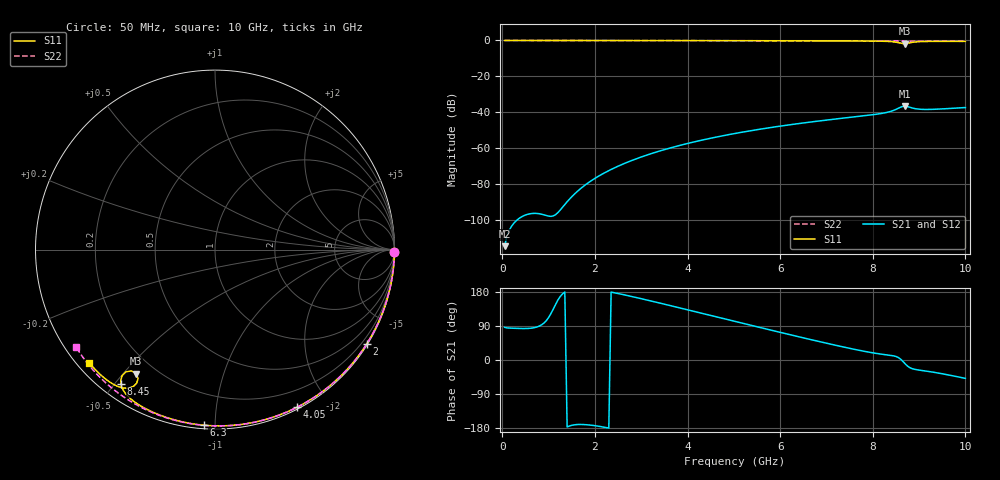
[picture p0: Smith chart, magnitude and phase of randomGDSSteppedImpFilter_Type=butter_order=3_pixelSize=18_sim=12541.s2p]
! freq	dB(S11)	phase(S11)	dB(S12)	phase(S12)
!  dB(S21)	phase(S21)	dB(S22)	phase(S22)
!S-par simulation data
#  GHz  S  DB  R 50
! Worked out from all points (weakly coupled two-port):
!   200 points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, 50 MHz to 10 GHz, reference 50 ohm
!   highest |S21| = -36.62 dB at 8.7 GHz (marker M1); lowest = -114.6 dB at 50 MHz (marker M2)
!   lowest |S11| = -1.7 dB at 8.7 GHz (marker M3), VSWR 10.03, Z = 6.48 - j27.1 ohm
!   |S11| at or under -10 dB: nowhere
!   |S22| runs from -0.5 to 0.0 dB; largest |S21 - S12| = 0
!   S11 on the Smith chart (normalised r, x): 50 MHz: open; 2 GHz: 0.03, -3.52; 4.05 GHz: 0.02, -1.65; 6.3 GHz: 0.02, -0.94; 8.45 GHz: 0.06, -0.52; 10 GHz: 0.03, -0.38
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0.05  -0.00 -0.8  -114.60 86.3  -114.60 86.3  -0.00 -0.8
0.9  -0.02 -14.5  -97.15 97.5  -97.15 97.5  -0.02 -15.1
1.75  -0.04 -27.9  -81.30 -170.3  -81.30 -170.3  -0.04 -29.0
1.85  -0.04 -29.4  -79.39 -171.1  -79.39 -171.1  -0.04 -30.6
2  -0.04 -31.8  -76.83 -173.3  -76.83 -173.3  -0.04 -33.0
2.3  -0.05 -36.4  -72.50 -179.6  -72.50 -179.6  -0.05 -37.9
2.6  -0.05 -41.0  -68.92 172.9  -68.92 172.9  -0.05 -42.6
3  -0.06 -47.0  -64.92 161.8  -64.92 161.8  -0.06 -48.9
3.4  -0.07 -53.0  -61.56 150.3  -61.56 150.3  -0.07 -55.1
4.05  -0.09 -62.5  -57.07 131.0  -57.07 131.0  -0.09 -64.9
5.05  -0.12 -76.7  -51.69 101.1  -51.69 101.1  -0.12 -79.5
6.3  -0.17 -93.7  -46.64 64.2  -46.64 64.2  -0.18 -96.9
6.7  -0.20 -99.0  -45.30 52.7  -45.30 52.7  -0.20 -102.3
7.75  -0.29 -113.2  -42.14 24.5  -42.14 24.5  -0.27 -116.2
8.35  -0.56 -122.9  -39.80 12.9  -39.80 12.9  -0.32 -123.9
8.45  -0.77 -124.9  -38.97 11.0  -38.97 11.0  -0.33 -125.2
8.6  -1.48 -126.1  -37.17 2.4  -37.17 2.4  -0.34 -127.1
8.7  -1.74 -122.4  -36.62 -10.2  -36.62 -10.2  -0.35 -128.4
8.85  -1.05 -120.8  -37.60 -22.8  -37.60 -22.8  -0.36 -130.3
9  -0.69 -123.4  -38.28 -26.6  -38.28 -26.6  -0.38 -132.2
9.4  -0.50 -129.9  -38.26 -34.1  -38.26 -34.1  -0.42 -137.4
10  -0.51 -138.0  -37.37 -48.5  -37.37 -48.5  -0.49 -145.0
